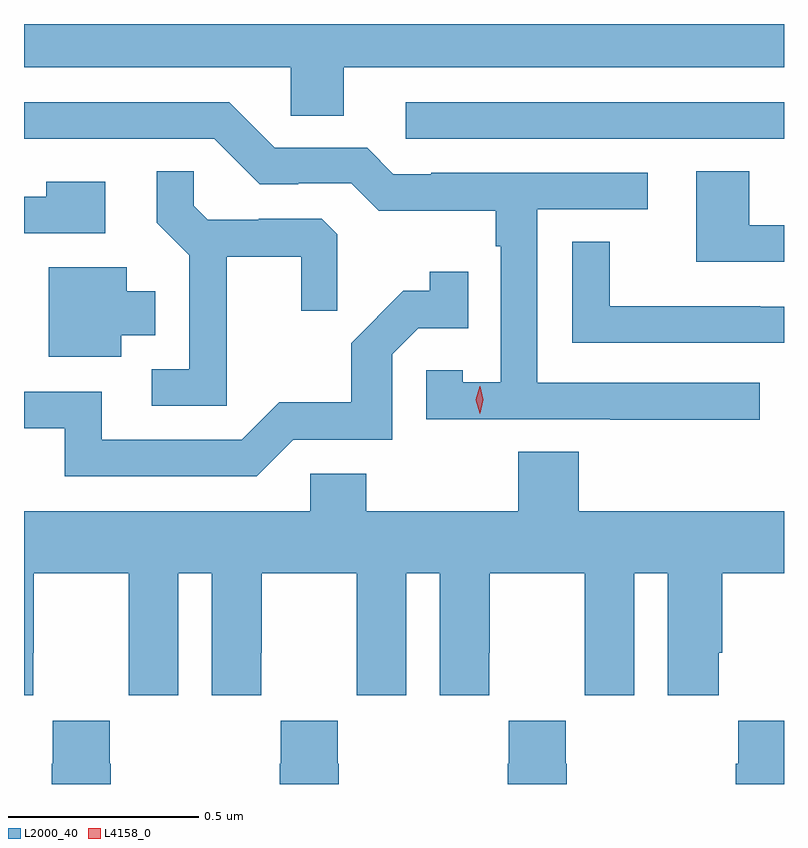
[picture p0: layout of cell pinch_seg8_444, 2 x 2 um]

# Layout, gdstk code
import gdstk
lib = gdstk.Library(unit=1e-6, precision=1e-09)
def R(c, l, rs):  # rectangles x0, y0, x1, y1
    for r in rs: c.add(gdstk.rectangle(r[:2], r[2:], *l))
def P(c, l, *ps):  # polygons
    for p in ps: c.add(gdstk.Polygon(p, *l))
L2000_40 = (2000, 40)
L4158_0 = (4158, 0)

pinch_seg8_444 = lib.new_cell('pinch_seg8_444')
R(pinch_seg8_444, L2000_40, [(362.727,1148.28,363.722,1148.376)])
P(pinch_seg8_444, L2000_40, [(362.563,1148.468),(363.722,1148.468),(363.722,1148.582),(361.722,1148.582),(361.722,1148.468),(362.424,1148.468),(362.424,1148.341),(362.563,1148.341)],
  [(363.658,1147.638),(363.072,1147.638),(363.072,1148.094),(363.364,1148.094),(363.364,1148.19),(362.794,1148.19),(362.794,1148.187),(362.694,1148.187),(362.625,1148.256),(362.382,1148.256),(362.262,1148.376),(361.722,1148.376),(361.722,1148.28),(362.223,1148.28),(362.343,1148.16),(362.444,1148.16),(362.444,1148.163),(362.583,1148.163),(362.656,1148.09),(362.964,1148.09),(362.964,1147.997),(362.976,1147.997),(362.976,1147.639),(362.877,1147.639),(362.877,1147.671),(362.781,1147.671),(362.781,1147.542),(363.265,1147.542),(363.265,1147.54),(363.658,1147.54)],
  [(363.722,1148.052),(363.631,1148.052),(363.631,1148.195),(363.491,1148.195),(363.491,1147.956),(363.722,1147.956)],
  [(362.255,1147.97),(362.452,1147.97),(362.452,1147.827),(362.546,1147.827),(362.546,1148.029),(362.505,1148.07),(362.34,1148.07),(362.34,1148.067),(362.206,1148.067),(362.169,1148.104),(362.169,1148.195),(362.071,1148.195),(362.071,1148.059),(362.157,1147.973),(362.157,1147.674),(362.058,1147.674),(362.058,1147.578),(362.255,1147.578)],
  [(361.936,1148.167),(361.78,1148.167),(361.78,1148.127),(361.722,1148.127),(361.722,1148.031),(361.936,1148.031)],
  [(363.722,1147.838),(363.659,1147.838),(363.659,1147.839),(363.264,1147.839),(363.264,1148.009),(363.165,1148.009),(363.165,1147.743),(363.722,1147.743)],
  [(361.978,1147.763),(362.068,1147.763),(362.068,1147.879),(361.993,1147.879),(361.993,1147.942),(361.787,1147.942),(361.787,1147.706),(361.978,1147.706)],
  [(362.43,1147.488),(362.691,1147.488),(362.691,1147.713),(362.76,1147.782),(362.891,1147.782),(362.891,1147.93),(362.79,1147.93),(362.79,1147.88),(362.72,1147.88),(362.583,1147.742),(362.583,1147.587),(362.394,1147.587),(362.295,1147.488),(361.927,1147.488),(361.927,1147.614),(361.722,1147.614),(361.722,1147.518),(361.829,1147.518),(361.829,1147.392),(362.334,1147.392)],
  [(362.622,1147.398),(362.475,1147.398),(362.475,1147.3),(361.722,1147.3),(361.722,1146.816),(361.746,1146.816),(361.746,1146.928),(361.747,1146.928),(361.747,1147.136),(361.997,1147.136),(361.997,1146.928),(361.998,1146.928),(361.998,1146.816),(362.128,1146.816),(362.128,1147.136),(362.216,1147.136),(362.216,1146.816),(362.346,1146.816),(362.346,1146.928),(362.347,1146.928),(362.347,1147.136),(362.597,1147.136),(362.597,1146.928),(362.598,1146.928),(362.598,1146.816),(362.728,1146.816),(362.728,1147.136),(362.816,1147.136),(362.816,1146.816),(362.946,1146.816),(362.946,1146.928),(362.947,1146.928),(362.947,1147.136),(363.197,1147.136),(363.197,1146.928),(363.198,1146.928),(363.198,1146.816),(363.328,1146.816),(363.328,1147.136),(363.416,1147.136),(363.416,1146.816),(363.55,1146.816),(363.55,1146.928),(363.56,1146.928),(363.56,1147.136),(363.722,1147.136),(363.722,1147.3),(363.182,1147.3),(363.182,1147.457),(363.022,1147.457),(363.022,1147.3),(362.622,1147.3)],
  [(363.722,1146.748),(363.601,1146.748),(363.601,1146.635),(363.595,1146.635),(363.595,1146.582),(363.722,1146.582)],
  [(363.15,1146.635),(363.147,1146.635),(363.147,1146.748),(362.997,1146.748),(362.997,1146.635),(362.995,1146.635),(362.995,1146.582),(363.15,1146.582)],
  [(362.55,1146.635),(362.547,1146.635),(362.547,1146.748),(362.397,1146.748),(362.397,1146.635),(362.395,1146.635),(362.395,1146.582),(362.55,1146.582)],
  [(361.95,1146.635),(361.947,1146.635),(361.947,1146.748),(361.797,1146.748),(361.797,1146.635),(361.795,1146.635),(361.795,1146.582),(361.95,1146.582)])
P(pinch_seg8_444, L4158_0, [(362.921,1147.557),(362.921,1147.558),(362.911,1147.593),(362.921,1147.629),(362.921,1147.629),(362.922,1147.629),(362.931,1147.593),(362.922,1147.558)])

lib.write_gds('pinch_seg8_444.gds')
